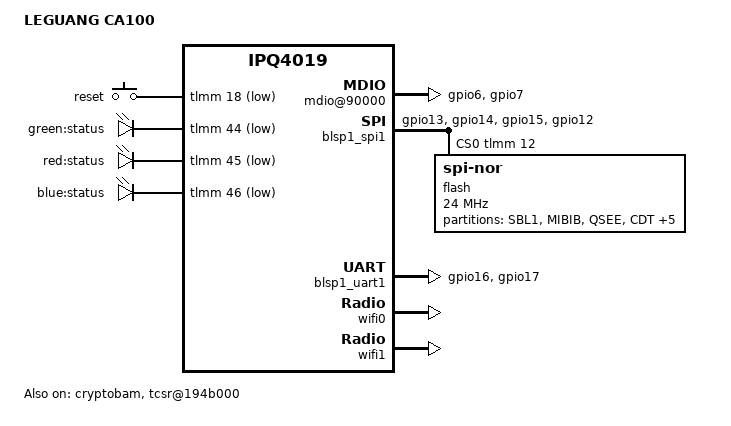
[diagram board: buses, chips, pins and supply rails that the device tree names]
// SPDX-License-Identifier: GPL-2.0-or-later OR MIT

#include "qcom-ipq4019.dtsi"
#include <dt-bindings/gpio/gpio.h>
#include <dt-bindings/input/input.h>
#include <dt-bindings/soc/qcom,tcsr.h>

/ {
	model = "LEGUANG CA100";
	compatible = "leguang,ca100", "qcom,ipq4019";

	aliases {
		led-boot = &led_status_blue;
		led-failsafe = &led_status_red;
		led-running = &led_status_blue;
		led-upgrade = &led_status_green;
	};

	soc {
		rng@22000 {
			status = "okay";
		};

		mdio@90000 {
			status = "okay";
			pinctrl-0 = <&mdio_pins>;
			pinctrl-names = "default";
		};

		ess-psgmii@98000 {
			status = "okay";
		};

		tcsr@1949000 {
			compatible = "qcom,tcsr";
			reg = <0x1949000 0x100>;
			qcom,wifi_glb_cfg = <TCSR_WIFI_GLB_CFG>;
		};

		tcsr@194b000 {
			compatible = "qcom,tcsr";
			reg = <0x194b000 0x100>;
			qcom,usb-hsphy-mode-select = <TCSR_USB_HSPHY_HOST_MODE>;
			status = "okay";
		};

		ess_tcsr@1953000 {
			compatible = "qcom,tcsr";
			reg = <0x1953000 0x1000>;
			qcom,ess-interface-select = <TCSR_ESS_PSGMII>;
		};

		tcsr@1957000 {
			compatible = "qcom,tcsr";
			reg = <0x1957000 0x100>;
			qcom,wifi_noc_memtype_m0_m2 = <TCSR_WIFI_NOC_MEMTYPE_M0_M2>;
		};

		crypto@8e3a000 {
			status = "okay";
		};

		watchdog@b017000 {
			status = "okay";
		};

		ess-switch@c000000 {
			status = "okay";
		};

		edma@c080000 {
			status = "okay";
		};
	};

	keys {
		compatible = "gpio-keys";

		reset {
			label = "reset";
			gpios = <&tlmm 18 GPIO_ACTIVE_LOW>;
			linux,code = <KEY_RESTART>;
		};
	};

	leds {
		compatible = "gpio-leds";

		led_status_green: status-green {
			label = "green:status";
			gpios = <&tlmm 44 GPIO_ACTIVE_LOW>;
		};

		led_status_red: status-red {
			label = "red:status";
			gpios = <&tlmm 45 GPIO_ACTIVE_LOW>;
		};

		led_status_blue: status-blue {
			label = "blue:status";
			gpios = <&tlmm 46 GPIO_ACTIVE_LOW>;
		};
	};
};

&blsp_dma {
	status = "okay";
};

&blsp1_spi1 {
	pinctrl-0 = <&spi_0_pins>;
	pinctrl-names = "default";
	status = "okay";
	cs-gpios = <&tlmm 12 GPIO_ACTIVE_HIGH>;

	flash@0 {
		compatible = "jedec,spi-nor";
		reg = <0>;
		spi-max-frequency = <24000000>;

		partitions {
			compatible = "fixed-partitions";
			#address-cells = <1>;
			#size-cells = <1>;

			partition@0 {
				label = "SBL1";
				reg = <0x0 0x40000>;
				read-only;
			};

			partition@40000 {
				label = "MIBIB";
				reg = <0x40000 0x20000>;
				read-only;
			};

			partition@60000 {
				label = "QSEE";
				reg = <0x60000 0x60000>;
				read-only;
			};

			partition@c0000 {
				label = "CDT";
				reg = <0xc0000 0x10000>;
				read-only;
			};

			partition@d0000 {
				label = "DDRPARAMS";
				reg = <0xd0000 0x10000>;
				read-only;
			};

			partition@e0000 {
				label = "APPSBLENV";
				reg = <0xe0000 0x10000>;
				read-only;
			};

			partition@f0000 {
				label = "APPSBL";
				reg = <0xf0000 0x80000>;
				read-only;
			};

			partition@170000 {
				label = "ART";
				reg = <0x170000 0x10000>;
				read-only;
			};

			partition@180000 {
				compatible = "denx,fit";
				label = "firmware";
				reg = <0x180000 0x1e80000>;
			};
		};
	};
};

&blsp1_uart1 {
	pinctrl-0 = <&serial_pins>;
	pinctrl-names = "default";
	status = "okay";
};

&cryptobam {
	status = "okay";
};

&tlmm {
	mdio_pins: mdio_pinmux {
		mux_1 {
			pins = "gpio6";
			function = "mdio";
			bias-pull-up;
		};

		mux_2 {
			pins = "gpio7";
			function = "mdc";
			bias-pull-up;
		};
	};

	serial_pins: serial_pinmux {
		mux {
			pins = "gpio16", "gpio17";
			function = "blsp_uart0";
			bias-disable;
		};
	};

	spi_0_pins: spi_0_pinmux {
		pinmux {
			function = "blsp_spi0";
			pins = "gpio13", "gpio14", "gpio15";
			drive-strength = <12>;
			bias-disable;
		};

		pinmux_cs {
			function = "gpio";
			pins = "gpio12";
			drive-strength = <2>;
			bias-disable;
			output-high;
		};
	};
};

&wifi0 {
	status = "okay";
};

&wifi1 {
	status = "okay";
};
